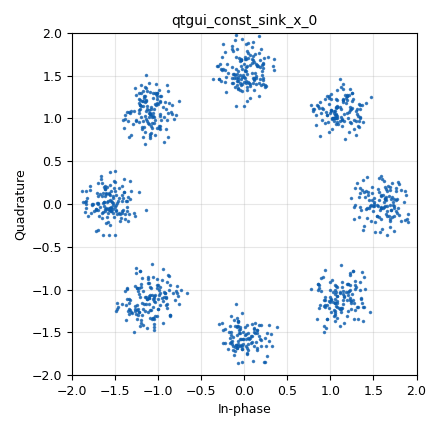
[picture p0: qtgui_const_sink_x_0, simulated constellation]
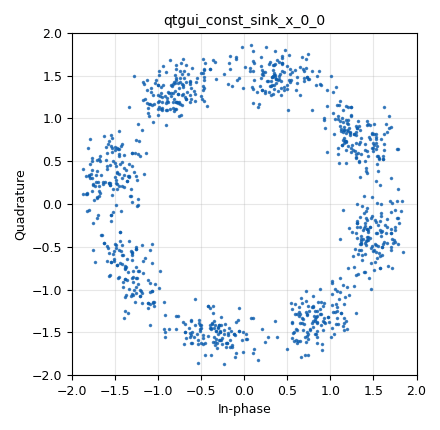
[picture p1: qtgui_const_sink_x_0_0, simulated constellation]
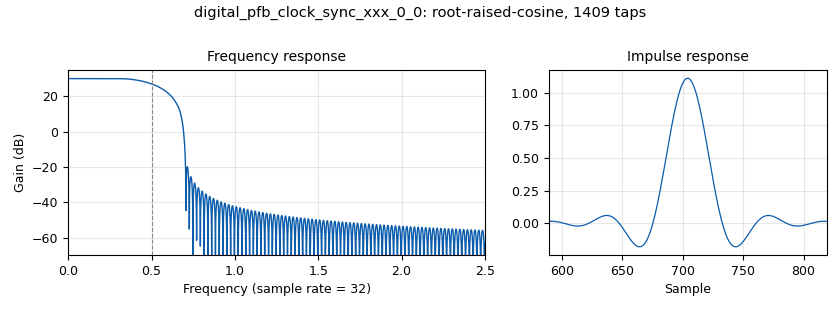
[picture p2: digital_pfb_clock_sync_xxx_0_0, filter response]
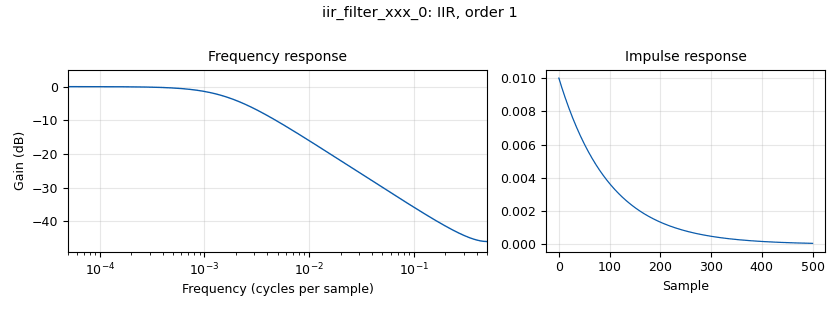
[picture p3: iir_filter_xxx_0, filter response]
<?xml version='1.0' encoding='utf-8'?>
<?grc format='1' created='3.7.13'?>
<flow_graph>
<block>
<key>options</key>
<param><key>id</key><value>top_block</value></param>
<param><key>generate_options</key><value>qt_gui</value></param>
</block>
<block>
<key>variable</key>
<param><key>id</key><value>const_points</value></param>
<param><key>value</key><value>4</value></param>
</block>
<block>
<key>variable</key>
<param><key>id</key><value>excess_bw</value></param>
<param><key>value</key><value>0.4</value></param>
</block>
<block>
<key>variable</key>
<param><key>id</key><value>nfilts</value></param>
<param><key>value</key><value>32</value></param>
</block>
<block>
<key>variable</key>
<param><key>id</key><value>ntaps</value></param>
<param><key>value</key><value>11*nfilts*sps</value></param>
</block>
<block>
<key>variable</key>
<param><key>id</key><value>rx_taps</value></param>
<param><key>value</key><value>firdes.root_raised_cosine(nfilts, nfilts, 1.0, excess_bw, ntaps)</value></param>
</block>
<block>
<key>variable</key>
<param><key>id</key><value>samp_rate</value></param>
<param><key>value</key><value>320000</value></param>
</block>
<block>
<key>variable</key>
<param><key>id</key><value>samp_rate_2</value></param>
<param><key>value</key><value>20000</value></param>
</block>
<block>
<key>variable</key>
<param><key>id</key><value>sps</value></param>
<param><key>value</key><value>4</value></param>
</block>
<block>
<key>variable</key>
<param><key>id</key><value>timing_bw</value></param>
<param><key>value</key><value>2*pi/100</value></param>
</block>
<block>
<key>variable</key>
<param><key>id</key><value>tx_taps</value></param>
<param><key>value</key><value>firdes.root_raised_cosine(nfilts, nfilts, 1.0, excess_bw, ntaps)</value></param>
</block>
<block>
<key>analog_random_source_x</key>
<param><key>id</key><value>analog_random_source_x_0</value></param>
<param><key>max</key><value>8</value></param>
<param><key>min</key><value>0</value></param>
<param><key>num_samps</key><value>1000</value></param>
<param><key>type</key><value>byte</value></param>
<param><key>repeat</key><value>True</value></param>
</block>
<block>
<key>analog_sig_source_x</key>
<param><key>id</key><value>analog_sig_source_x_0</value></param>
<param><key>amp</key><value>1</value></param>
<param><key>freq</key><value>10e3</value></param>
<param><key>offset</key><value>0</value></param>
<param><key>type</key><value>complex</value></param>
<param><key>samp_rate</key><value>samp_rate</value></param>
<param><key>waveform</key><value>analog.GR_SIN_WAVE</value></param>
</block>
<block>
<key>blocks_add_const_vxx</key>
<param><key>id</key><value>blocks_add_const_vxx_0</value></param>
<param><key>const</key><value>-0.5</value></param>
<param><key>type</key><value>float</value></param>
</block>
<block>
<key>blocks_add_const_vxx</key>
<param><key>id</key><value>blocks_add_const_vxx_0_0</value></param>
<param><key>const</key><value>-0.5</value></param>
<param><key>type</key><value>float</value></param>
</block>
<block>
<key>blocks_complex_to_arg</key>
<param><key>id</key><value>blocks_complex_to_arg_0</value></param>
</block>
<block>
<key>blocks_complex_to_float</key>
<param><key>id</key><value>blocks_complex_to_float_0</value></param>
</block>
<block>
<key>blocks_conjugate_cc</key>
<param><key>id</key><value>blocks_conjugate_cc_0</value></param>
</block>
<block>
<key>blocks_delay</key>
<param><key>id</key><value>blocks_delay_0</value></param>
<param><key>delay</key><value>1</value></param>
<param><key>type</key><value>complex</value></param>
</block>
<block>
<key>blocks_delay</key>
<param><key>id</key><value>blocks_delay_0_0</value></param>
<param><key>delay</key><value>10</value></param>
<param><key>type</key><value>float</value></param>
</block>
<block>
<key>blocks_multiply_const_vxx</key>
<param><key>id</key><value>blocks_multiply_const_vxx_0</value></param>
<param><key>const</key><value>1.0/8</value></param>
<param><key>type</key><value>float</value></param>
</block>
<block>
<key>blocks_multiply_xx</key>
<param><key>id</key><value>blocks_multiply_xx_0</value></param>
<param><key>type</key><value>complex</value></param>
</block>
<block>
<key>blocks_multiply_xx</key>
<param><key>id</key><value>blocks_multiply_xx_1</value></param>
<param><key>type</key><value>complex</value></param>
<param><key>num_inputs</key><value>8</value></param>
</block>
<block>
<key>blocks_multiply_xx</key>
<param><key>id</key><value>blocks_multiply_xx_1_0</value></param>
<param><key>type</key><value>float</value></param>
</block>
<block>
<key>blocks_multiply_xx</key>
<param><key>id</key><value>blocks_multiply_xx_1_0_0</value></param>
<param><key>type</key><value>float</value></param>
</block>
<block>
<key>blocks_multiply_xx</key>
<param><key>id</key><value>blocks_multiply_xx_2</value></param>
<param><key>type</key><value>complex</value></param>
</block>
<block>
<key>blocks_multiply_xx</key>
<param><key>id</key><value>blocks_multiply_xx_2_0</value></param>
<param><key>type</key><value>complex</value></param>
</block>
<block>
<key>blocks_multiply_xx</key>
<param><key>id</key><value>blocks_multiply_xx_3</value></param>
<param><key>type</key><value>complex</value></param>
</block>
<block>
<key>blocks_sub_xx</key>
<param><key>id</key><value>blocks_sub_xx_0</value></param>
<param><key>type</key><value>float</value></param>
</block>
<block>
<key>blocks_threshold_ff</key>
<param><key>id</key><value>blocks_threshold_ff_0</value></param>
<param><key>high</key><value>1e-3</value></param>
<param><key>init</key><value>0</value></param>
<param><key>low</key><value>-1e-3</value></param>
</block>
<block>
<key>blocks_threshold_ff</key>
<param><key>id</key><value>blocks_threshold_ff_0_0</value></param>
<param><key>high</key><value>1e-3</value></param>
<param><key>init</key><value>0</value></param>
<param><key>low</key><value>-1e-3</value></param>
</block>
<block>
<key>blocks_throttle</key>
<param><key>id</key><value>blocks_throttle_1</value></param>
<param><key>samples_per_second</key><value>samp_rate/4</value></param>
<param><key>type</key><value>complex</value></param>
</block>
<block>
<key>blocks_udp_sink</key>
<param><key>id</key><value>blocks_udp_sink_0</value></param>
<param><key>ipaddr</key><value>127.0.0.1</value></param>
<param><key>port</key><value>12345</value></param>
<param><key>type</key><value>float</value></param>
<param><key>psize</key><value>1472</value></param>
<param><key>eof</key><value>True</value></param>
<param><key>vlen</key><value>1</value></param>
</block>
<block>
<key>blocks_udp_source</key>
<param><key>id</key><value>blocks_udp_source_0</value></param>
<param><key>ipaddr</key><value>127.0.0.1</value></param>
<param><key>eof</key><value>True</value></param>
<param><key>type</key><value>float</value></param>
<param><key>psize</key><value>1472</value></param>
<param><key>port</key><value>12345</value></param>
<param><key>vlen</key><value>1</value></param>
</block>
<block>
<key>blocks_vco_c</key>
<param><key>id</key><value>blocks_vco_c_0</value></param>
<param><key>amplitude</key><value>1</value></param>
<param><key>samp_rate</key><value>samp_rate/4</value></param>
<param><key>sensitivity</key><value>-samp_rate/4</value></param>
</block>
<block>
<key>blocks_vco_c</key>
<param><key>id</key><value>blocks_vco_c_0_0</value></param>
<param><key>amplitude</key><value>1</value></param>
<param><key>samp_rate</key><value>samp_rate/4</value></param>
<param><key>sensitivity</key><value>-5</value></param>
</block>
<block>
<key>digital_chunks_to_symbols_xx</key>
<param><key>id</key><value>digital_chunks_to_symbols_xx_0</value></param>
<param><key>dimension</key><value>1</value></param>
<param><key>in_type</key><value>byte</value></param>
<param><key>out_type</key><value>complex</value></param>
<param><key>symbol_table</key><value>[sqrt(2), 1+1j, sqrt(2)*1j, -1+1j, -sqrt(2), -1-1j, -sqrt(2)*1j, 1-1j]</value></param>
</block>
<block>
<key>digital_pfb_clock_sync_xxx</key>
<param><key>id</key><value>digital_pfb_clock_sync_xxx_0_0</value></param>
<param><key>filter_size</key><value>nfilts</value></param>
<param><key>init_phase</key><value>16</value></param>
<param><key>loop_bw</key><value>timing_bw</value></param>
<param><key>max_dev</key><value>1.5</value></param>
<param><key>osps</key><value>1</value></param>
<param><key>sps</key><value>sps</value></param>
<param><key>taps</key><value>rx_taps</value></param>
<param><key>type</key><value>ccf</value></param>
</block>
<block>
<key>iir_filter_xxx</key>
<param><key>id</key><value>iir_filter_xxx_0</value></param>
<param><key>fftaps</key><value>[0.01]</value></param>
<param><key>fbtaps</key><value>[-1,0.99]</value></param>
<param><key>type</key><value>ffd</value></param>
</block>
<block>
<key>iir_filter_xxx</key>
<param><key>id</key><value>iir_filter_xxx_1</value></param>
<param><key>fftaps</key><value>[1.0001,-1]</value></param>
<param><key>fbtaps</key><value>[-1,1]</value></param>
<param><key>type</key><value>ffd</value></param>
</block>
<block>
<key>import</key>
<param><key>id</key><value>import_0</value></param>
<param><key>import</key><value>from math import pi</value></param>
</block>
<block>
<key>import</key>
<param><key>id</key><value>import_0_0</value></param>
<param><key>import</key><value>from gnuradio import digital</value></param>
</block>
<block>
<key>import</key>
<param><key>id</key><value>import_0_0_0</value></param>
<param><key>import</key><value>from gnuradio import filter</value></param>
</block>
<block>
<key>import</key>
<param><key>id</key><value>import_0_0_0_0</value></param>
<param><key>import</key><value>from math import sqrt</value></param>
</block>
<block>
<key>pfb_arb_resampler_xxx</key>
<param><key>id</key><value>pfb_arb_resampler_xxx_0</value></param>
<param><key>nfilts</key><value>32</value></param>
<param><key>rrate</key><value>sps</value></param>
<param><key>atten</key><value>100</value></param>
<param><key>taps</key><value>tx_taps</value></param>
<param><key>type</key><value>ccf</value></param>
</block>
<block>
<key>qtgui_const_sink_x</key>
<param><key>id</key><value>qtgui_const_sink_x_0</value></param>
<param><key>gui_hint</key><value>tab@0</value></param>
<param><key>size</key><value>1024</value></param>
<param><key>type</key><value>complex</value></param>
</block>
<block>
<key>qtgui_const_sink_x</key>
<param><key>id</key><value>qtgui_const_sink_x_0_0</value></param>
<param><key>gui_hint</key><value>tab@1</value></param>
<param><key>size</key><value>1024</value></param>
<param><key>type</key><value>complex</value></param>
</block>
<block>
<key>qtgui_const_sink_x</key>
<param><key>id</key><value>qtgui_const_sink_x_0_0_0</value></param>
<param><key>gui_hint</key><value>tab@2</value></param>
<param><key>size</key><value>1024</value></param>
<param><key>type</key><value>complex</value></param>
</block>
<block>
<key>qtgui_tab_widget</key>
<param><key>id</key><value>tab</value></param>
<param><key>label0</key><value>Before Viterbi</value></param>
<param><key>label1</key><value>After Viterbi</value></param>
<param><key>label2</key><value>After Costas</value></param>
<param><key>num_tabs</key><value>3</value></param>
</block>
<connection><source_block_id>analog_random_source_x_0</source_block_id><sink_block_id>digital_chunks_to_symbols_xx_0</sink_block_id><source_key>0</source_key><sink_key>0</sink_key></connection>
<connection><source_block_id>analog_sig_source_x_0</source_block_id><sink_block_id>blocks_multiply_xx_0</sink_block_id><source_key>0</source_key><sink_key>1</sink_key></connection>
<connection><source_block_id>blocks_add_const_vxx_0</source_block_id><sink_block_id>blocks_multiply_xx_1_0</sink_block_id><source_key>0</source_key><sink_key>0</sink_key></connection>
<connection><source_block_id>blocks_add_const_vxx_0_0</source_block_id><sink_block_id>blocks_multiply_xx_1_0_0</sink_block_id><source_key>0</source_key><sink_key>1</sink_key></connection>
<connection><source_block_id>blocks_complex_to_arg_0</source_block_id><sink_block_id>blocks_multiply_const_vxx_0</sink_block_id><source_key>0</source_key><sink_key>0</sink_key></connection>
<connection><source_block_id>blocks_complex_to_float_0</source_block_id><sink_block_id>blocks_multiply_xx_1_0</sink_block_id><source_key>1</source_key><sink_key>1</sink_key></connection>
<connection><source_block_id>blocks_complex_to_float_0</source_block_id><sink_block_id>blocks_threshold_ff_0_0</sink_block_id><source_key>1</source_key><sink_key>0</sink_key></connection>
<connection><source_block_id>blocks_complex_to_float_0</source_block_id><sink_block_id>blocks_multiply_xx_1_0_0</sink_block_id><source_key>0</source_key><sink_key>0</sink_key></connection>
<connection><source_block_id>blocks_complex_to_float_0</source_block_id><sink_block_id>blocks_threshold_ff_0</sink_block_id><source_key>0</source_key><sink_key>0</sink_key></connection>
<connection><source_block_id>blocks_conjugate_cc_0</source_block_id><sink_block_id>blocks_multiply_xx_2</sink_block_id><source_key>0</source_key><sink_key>0</sink_key></connection>
<connection><source_block_id>blocks_delay_0</source_block_id><sink_block_id>blocks_conjugate_cc_0</sink_block_id><source_key>0</source_key><sink_key>0</sink_key></connection>
<connection><source_block_id>blocks_delay_0_0</source_block_id><sink_block_id>iir_filter_xxx_1</sink_block_id><source_key>0</source_key><sink_key>0</sink_key></connection>
<connection><source_block_id>blocks_multiply_const_vxx_0</source_block_id><sink_block_id>blocks_vco_c_0</sink_block_id><source_key>0</source_key><sink_key>0</sink_key></connection>
<connection><source_block_id>blocks_multiply_xx_0</source_block_id><sink_block_id>digital_pfb_clock_sync_xxx_0_0</sink_block_id><source_key>0</source_key><sink_key>0</sink_key></connection>
<connection><source_block_id>blocks_multiply_xx_1</source_block_id><sink_block_id>blocks_delay_0</sink_block_id><source_key>0</source_key><sink_key>0</sink_key></connection>
<connection><source_block_id>blocks_multiply_xx_1</source_block_id><sink_block_id>blocks_multiply_xx_2</sink_block_id><source_key>0</source_key><sink_key>1</sink_key></connection>
<connection><source_block_id>blocks_multiply_xx_1_0</source_block_id><sink_block_id>blocks_sub_xx_0</sink_block_id><source_key>0</source_key><sink_key>1</sink_key></connection>
<connection><source_block_id>blocks_multiply_xx_1_0_0</source_block_id><sink_block_id>blocks_sub_xx_0</sink_block_id><source_key>0</source_key><sink_key>0</sink_key></connection>
<connection><source_block_id>blocks_multiply_xx_2</source_block_id><sink_block_id>blocks_complex_to_arg_0</sink_block_id><source_key>0</source_key><sink_key>0</sink_key></connection>
<connection><source_block_id>blocks_multiply_xx_2_0</source_block_id><sink_block_id>blocks_complex_to_float_0</sink_block_id><source_key>0</source_key><sink_key>0</sink_key></connection>
<connection><source_block_id>blocks_multiply_xx_2_0</source_block_id><sink_block_id>qtgui_const_sink_x_0_0_0</sink_block_id><source_key>0</source_key><sink_key>0</sink_key></connection>
<connection><source_block_id>blocks_multiply_xx_3</source_block_id><sink_block_id>blocks_throttle_1</sink_block_id><source_key>0</source_key><sink_key>0</sink_key></connection>
<connection><source_block_id>blocks_sub_xx_0</source_block_id><sink_block_id>iir_filter_xxx_0</sink_block_id><source_key>0</source_key><sink_key>0</sink_key></connection>
<connection><source_block_id>blocks_threshold_ff_0</source_block_id><sink_block_id>blocks_add_const_vxx_0</sink_block_id><source_key>0</source_key><sink_key>0</sink_key></connection>
<connection><source_block_id>blocks_threshold_ff_0_0</source_block_id><sink_block_id>blocks_add_const_vxx_0_0</sink_block_id><source_key>0</source_key><sink_key>0</sink_key></connection>
<connection><source_block_id>blocks_throttle_1</source_block_id><sink_block_id>blocks_multiply_xx_2_0</sink_block_id><source_key>0</source_key><sink_key>1</sink_key></connection>
<connection><source_block_id>blocks_throttle_1</source_block_id><sink_block_id>qtgui_const_sink_x_0_0</sink_block_id><source_key>0</source_key><sink_key>0</sink_key></connection>
<connection><source_block_id>blocks_udp_source_0</source_block_id><sink_block_id>blocks_delay_0_0</sink_block_id><source_key>0</source_key><sink_key>0</sink_key></connection>
<connection><source_block_id>blocks_vco_c_0</source_block_id><sink_block_id>blocks_multiply_xx_3</sink_block_id><source_key>0</source_key><sink_key>0</sink_key></connection>
<connection><source_block_id>blocks_vco_c_0_0</source_block_id><sink_block_id>blocks_multiply_xx_2_0</sink_block_id><source_key>0</source_key><sink_key>0</sink_key></connection>
<connection><source_block_id>digital_chunks_to_symbols_xx_0</source_block_id><sink_block_id>pfb_arb_resampler_xxx_0</sink_block_id><source_key>0</source_key><sink_key>0</sink_key></connection>
<connection><source_block_id>digital_pfb_clock_sync_xxx_0_0</source_block_id><sink_block_id>blocks_multiply_xx_1</sink_block_id><source_key>0</source_key><sink_key>0</sink_key></connection>
<connection><source_block_id>digital_pfb_clock_sync_xxx_0_0</source_block_id><sink_block_id>blocks_multiply_xx_1</sink_block_id><source_key>0</source_key><sink_key>1</sink_key></connection>
<connection><source_block_id>digital_pfb_clock_sync_xxx_0_0</source_block_id><sink_block_id>blocks_multiply_xx_1</sink_block_id><source_key>0</source_key><sink_key>2</sink_key></connection>
<connection><source_block_id>digital_pfb_clock_sync_xxx_0_0</source_block_id><sink_block_id>blocks_multiply_xx_1</sink_block_id><source_key>0</source_key><sink_key>3</sink_key></connection>
<connection><source_block_id>digital_pfb_clock_sync_xxx_0_0</source_block_id><sink_block_id>blocks_multiply_xx_1</sink_block_id><source_key>0</source_key><sink_key>4</sink_key></connection>
<connection><source_block_id>digital_pfb_clock_sync_xxx_0_0</source_block_id><sink_block_id>blocks_multiply_xx_1</sink_block_id><source_key>0</source_key><sink_key>5</sink_key></connection>
<connection><source_block_id>digital_pfb_clock_sync_xxx_0_0</source_block_id><sink_block_id>blocks_multiply_xx_1</sink_block_id><source_key>0</source_key><sink_key>6</sink_key></connection>
<connection><source_block_id>digital_pfb_clock_sync_xxx_0_0</source_block_id><sink_block_id>blocks_multiply_xx_1</sink_block_id><source_key>0</source_key><sink_key>7</sink_key></connection>
<connection><source_block_id>digital_pfb_clock_sync_xxx_0_0</source_block_id><sink_block_id>blocks_multiply_xx_3</sink_block_id><source_key>0</source_key><sink_key>1</sink_key></connection>
<connection><source_block_id>digital_pfb_clock_sync_xxx_0_0</source_block_id><sink_block_id>qtgui_const_sink_x_0</sink_block_id><source_key>0</source_key><sink_key>0</sink_key></connection>
<connection><source_block_id>iir_filter_xxx_0</source_block_id><sink_block_id>blocks_udp_sink_0</sink_block_id><source_key>0</source_key><sink_key>0</sink_key></connection>
<connection><source_block_id>iir_filter_xxx_1</source_block_id><sink_block_id>blocks_vco_c_0_0</sink_block_id><source_key>0</source_key><sink_key>0</sink_key></connection>
<connection><source_block_id>pfb_arb_resampler_xxx_0</source_block_id><sink_block_id>blocks_multiply_xx_0</sink_block_id><source_key>0</source_key><sink_key>0</sink_key></connection>
</flow_graph>
